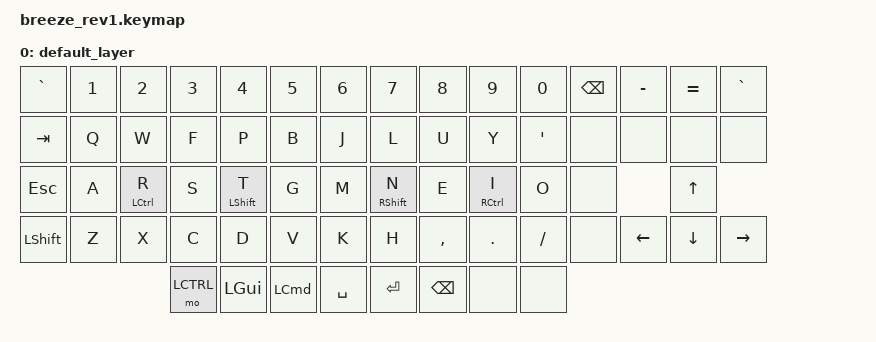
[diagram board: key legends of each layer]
/*
 * Copyright (c) 2022 The ZMK Contributors
 *
 * SPDX-License-Identifier: MIT
 */

#include <behaviors.dtsi>
#include <dt-bindings/zmk/keys.h>
#include <dt-bindings/zmk/bt.h>
#include <dt-bindings/zmk/ext_power.h>

/ {
  behaviors {
    // https://github.com/urob/zmk-config#timeless-homerow-mods
    lht: left_positional_hold_tap {
      compatible = "zmk,behavior-hold-tap";
      #binding-cells = <2>;
      bindings = <&kp>, <&kp>;

      flavor = "balanced";
      tapping-term-ms = <280>;                        // <---[[produces tap if held longer than tapping-term-ms]]
      quick-tap-ms = <175>;
      require-prior-idle-ms = <150>;
      hold-trigger-on-release;

      hold-trigger-key-positions = <6 7 8 9 10 11 12 13 14 21 22 23 24 25 26 27 28 29 36 37 38 39 40 41 42 49 50 51 52 53 54 55 56 57 >;
    };
    rht: right_positional_hold_tap {
      compatible = "zmk,behavior-hold-tap";
      #binding-cells = <2>;
      bindings = <&kp>, <&kp>;

      flavor = "balanced";
      tapping-term-ms = <280>;                        // <---[[produces tap if held longer than tapping-term-ms]]
      quick-tap-ms = <175>;
      require-prior-idle-ms = <150>;
      hold-trigger-on-release;

      hold-trigger-key-positions = < 0 1 2 3 4 5 15 16 17 18 19 20 30 31 32 33 34 35 43 44 45 46 47 48 >;

    };
  };
	keymap {
		compatible = "zmk,keymap";

		default_layer {

// Ref: https://zmkfirmware.dev/docs/codes/

// ---  MAIN  -----------------------------------------------------------------------------------------------------------------------
// |    `/~    |     1     |     2     |     3      |      4      |      5     |                           |      6      |      7     |      8      |      9     |     0    |            | |    -/_    |     =/+     |     `/~     |
// |    TAB    |     Q     |     W     |     F      |      P      |      B     |                           |      J      |      L     |      U      |      Y     |     '    |            | |           |             |             |
// |   LCTRL   |     A     |     R     |     S      |      T      |      G     |                           |      M      |      N     |      E      |      I     |     O    |            | |           |      UP     |             |
// |   SHIFT   |     Z     |     X     |     C      |      D      |      V     |                           |      K      |      H     |      ,      |      .     |     /    |            | |   LEFT    |     DOWN    |    RIGHT    |
//                                     |            |             |            |   SPACE    |  |   ENTER   |     BSPC    |            |             |
			bindings = <
    &kp GRAVE  &kp N1      &kp N2       &kp N3       &kp N4        &kp N5                                   &kp N6         &kp N7       &kp N8        &kp N9       &kp N0      &kp BSPC      &kp MINUS   &kp EQUAL     &kp GRAVE
    &kp TAB    &kp Q       &kp W        &kp F        &kp P         &kp B                                    &kp J          &kp L        &kp U         &kp Y        &kp APOS    &none         &none       &none         &none     
    &kp ESC    &kp A       &lht LCTRL R &kp S        &lht LSHFT T  &kp G                                    &kp M          &rht RSHFT N &kp E         &rht RCTRL I &kp O       &none                     &kp UP    
    &kp LSHFT  &kp Z       &kp X        &kp C        &kp D         &kp V                                    &kp K          &kp H        &kp COMMA     &kp DOT      &kp FSLH    &none         &kp LEFT    &kp DOWN      &kp RIGHT
                                        &mo LCTRL    &kp LGUI      &kp LCMD     &kp SPACE       &kp RET     &kp BSPC       &none        &none
			>;
		};
	};
};
